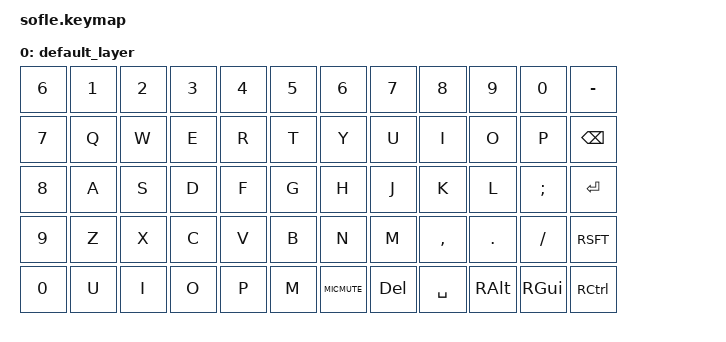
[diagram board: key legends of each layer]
/*
 * Copyright (c) 2020 The ZMK Contributors
 *
 * SPDX-License-Identifier: MIT
 */

#include <behaviors.dtsi>
#include <dt-bindings/zmk/keys.h>

/ {
    keymap {
        compatible = "zmk,keymap";

        default_layer {
            bindings = <
                &kp N6   &kp N1    &kp N2    &kp N3    &kp N4    &kp N5       &kp N6          &kp N7    &kp N8    &kp N9    &kp N0    &kp MINUS
                &kp N7   &kp Q     &kp W     &kp E     &kp R     &kp T        &kp Y           &kp U     &kp I     &kp O     &kp P     &kp BSPC
                &kp N8   &kp A     &kp S     &kp D     &kp F     &kp G        &kp H           &kp J     &kp K     &kp L     &kp SCLN  &kp RET
                &kp N9   &kp Z     &kp X     &kp C     &kp V     &kp B        &kp N           &kp M     &kp COMMA &kp DOT   &kp FSLH  &kp RSFT
                &kp N0   &kp U     &kp I     &kp O     &kp P     &kp M        &kp C_MICMUTE   &kp DEL   &kp SPACE &kp RALT  &kp RGUI  &kp RCTL
            >;
        };
    };
};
